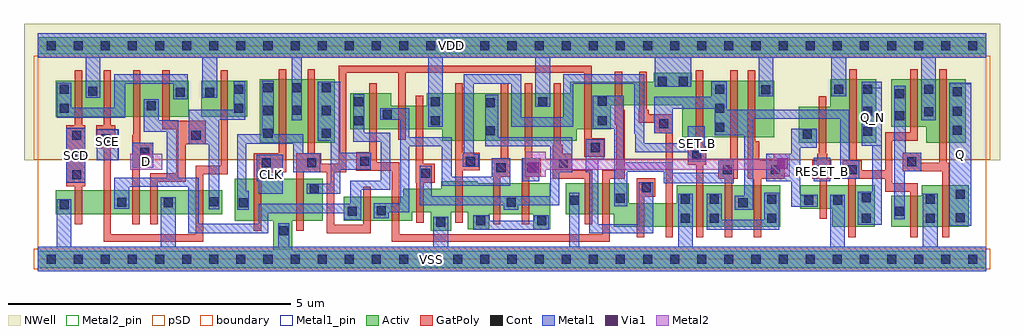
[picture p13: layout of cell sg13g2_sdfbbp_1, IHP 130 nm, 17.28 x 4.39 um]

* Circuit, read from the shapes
.subckt sg13g2_sdfbbp_1 CLK D Q Q_N RESET_B SCD SCE SET_B VDD VSS
XM1 n1 SCD VSS VSS sg13_lv_nmos w=0.42u l=0.13u
XM2 n2 SCE n1 VSS sg13_lv_nmos w=0.42u l=0.13u
XM3 n3 D n2 VSS sg13_lv_nmos w=0.42u l=0.13u
XM4 VSS n4 n3 VSS sg13_lv_nmos w=0.42u l=0.13u
XM5 n4 SCE VSS VSS sg13_lv_nmos w=0.42u l=0.13u
XM6 VSS CLK n5 VSS sg13_lv_nmos w=0.74u l=0.13u
XM7 n6 n5 VSS VSS sg13_lv_nmos w=0.74u l=0.13u
XM8 n7 n5 n2 VSS sg13_lv_nmos w=0.42u l=0.13u
XM9 n8 n6 n7 VSS sg13_lv_nmos w=0.42u l=0.13u
XM10 VSS n9 n8 VSS sg13_lv_nmos w=0.42u l=0.13u
XM11 n10 SET_B VSS VSS sg13_lv_nmos w=0.55u l=0.13u
XM12 n9 n7 n10 VSS sg13_lv_nmos w=0.55u l=0.13u
XM13 n10 n11 n9 VSS sg13_lv_nmos w=0.55u l=0.13u
XM14 n12 n9 VSS VSS sg13_lv_nmos w=0.55u l=0.13u
XM15 n13 n6 n12 VSS sg13_lv_nmos w=0.55u l=0.13u
XM16 n14 n5 n13 VSS sg13_lv_nmos w=0.42u l=0.13u
XM17 VSS n15 n14 VSS sg13_lv_nmos w=0.42u l=0.13u
XM18 n16 SET_B VSS VSS sg13_lv_nmos w=0.74u l=0.13u
XM19 n15 n13 n16 VSS sg13_lv_nmos w=0.74u l=0.13u
XM20 n16 n11 n15 VSS sg13_lv_nmos w=0.74u l=0.13u
XM21 VSS RESET_B n11 VSS sg13_lv_nmos w=0.42u l=0.13u
XM22 Q_N n15 VSS VSS sg13_lv_nmos w=0.74u l=0.13u
XM23 VSS n15 n17 VSS sg13_lv_nmos w=0.55u l=0.13u
XM24 Q n17 VSS VSS sg13_lv_nmos w=0.74u l=0.13u
XM25 VDD SCD n18 VDD sg13_lv_pmos w=0.64u l=0.13u
XM26 n19 SCE VDD VDD sg13_lv_pmos w=0.64u l=0.13u
XM27 n2 D n19 VDD sg13_lv_pmos w=0.64u l=0.13u
XM28 n18 n4 n2 VDD sg13_lv_pmos w=0.64u l=0.13u
XM29 n4 SCE VDD VDD sg13_lv_pmos w=0.64u l=0.13u
XM30 VDD CLK n5 VDD sg13_lv_pmos w=1.12u l=0.13u
XM31 n6 n5 VDD VDD sg13_lv_pmos w=1.12u l=0.13u
XM32 n7 n6 n2 VDD sg13_lv_pmos w=0.64u l=0.13u
XM33 n20 n5 n7 VDD sg13_lv_pmos w=0.42u l=0.13u
XM34 VDD n9 n20 VDD sg13_lv_pmos w=0.42u l=0.13u
XM35 n9 SET_B VDD VDD sg13_lv_pmos w=0.84u l=0.13u
XM36 n21 n7 n9 VDD sg13_lv_pmos w=0.84u l=0.13u
XM37 VDD n11 n21 VDD sg13_lv_pmos w=0.84u l=0.13u
XM38 n22 n9 VDD VDD sg13_lv_pmos w=0.84u l=0.13u
XM39 n13 n5 n22 VDD sg13_lv_pmos w=0.84u l=0.13u
XM40 n23 n6 n13 VDD sg13_lv_pmos w=0.42u l=0.13u
XM41 VDD n15 n23 VDD sg13_lv_pmos w=0.42u l=0.13u
XM42 n15 SET_B VDD VDD sg13_lv_pmos w=1u l=0.13u
XM43 n24 n13 n15 VDD sg13_lv_pmos w=1u l=0.13u
XM44 VDD n11 n24 VDD sg13_lv_pmos w=1u l=0.13u
XM45 VDD RESET_B n11 VDD sg13_lv_pmos w=0.64u l=0.13u
XM46 Q_N n15 VDD VDD sg13_lv_pmos w=1.12u l=0.13u
XM47 VDD n15 n17 VDD sg13_lv_pmos w=0.84u l=0.13u
XM48 Q n17 VDD VDD sg13_lv_pmos w=1.12u l=0.13u
.ends

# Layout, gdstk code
import gdstk
lib = gdstk.Library(unit=1e-6, precision=1e-09)
def R(c, l, rs):  # rectangles x0, y0, x1, y1
    for r in rs: c.add(gdstk.rectangle(r[:2], r[2:], *l))
def A(c, l, x, y, w, h, nx, ny, dx, dy):  # array of equal rectangles
    R(c, l, [(x+i*dx, y+j*dy, x+i*dx+w, y+j*dy+h) for i in range(nx) for j in range(ny)])
def P(c, l, *ps):  # polygons
    for p in ps: c.add(gdstk.Polygon(p, *l))
Activ = (1, 0)
GatPoly = (5, 0)
Cont = (6, 0)
Metal1 = (8, 0)
Metal1_pin = (8, 2)
Metal2 = (10, 0)
Metal2_pin = (10, 2)
pSD = (14, 0)
Via1 = (19, 0)
NWell = (31, 0)
boundary = (189, 4)

sg13g2_sdfbbp_1 = lib.new_cell('sg13g2_sdfbbp_1')
R(sg13g2_sdfbbp_1, Activ, [(0.32,0.795,3.27,1.215), (3.93,2.06,5.265,3.18), (0.32,2.52,2.68,3.16), (2.9,2.52,3.71,3.16), (0,3.63,16.8,3.93)])
P(sg13g2_sdfbbp_1, Activ, [(16.8,0.15),(4.51,0.15),(4.51,0.68),(5.05,0.68),(5.05,1.42),(3.49,1.42),(3.49,0.68),(4.17,0.68),(4.17,0.15),(0,0.15),(0,-0.15),(16.8,-0.15)],
  [(16.485,1.31),(15.655,1.31),(15.655,1.12),(15.115,1.12),(15.115,0.57),(16.485,0.57)],
  [(16.435,3.18),(15.115,3.18),(15.115,2.34),(15.735,2.34),(15.735,2.06),(16.435,2.06)],
  [(14.845,3.18),(14.035,3.18),(14.035,2.7),(13.475,2.7),(13.475,2.06),(14.845,2.06)],
  [(14.825,1.31),(13.505,1.31),(13.505,0.89),(14.07,0.89),(14.07,0.57),(14.825,0.57)],
  [(13.15,1.31),(11.32,1.31),(11.32,0.99),(10.47,0.99),(10.47,1.345),(9.35,1.345),(9.35,0.795),(10.2,0.795),(10.2,0.57),(13.15,0.57)],
  [(13.045,3.16),(11.585,3.16),(11.585,3.3),(10.91,3.3),(10.91,3.14),(9.43,3.14),(9.43,2.935),(6.895,2.935),(6.895,2.715),(6.26,2.715),(6.26,2.935),(5.535,2.935),(5.535,2.295),(7.165,2.295),(7.165,2.095),(9.55,2.095),(9.55,2.3),(10.15,2.3),(10.15,2.72),(11.41,2.72),(11.41,2.16),(13.045,2.16)],
  [(9.075,1.345),(7.795,1.345),(7.795,1.375),(7.145,1.375),(7.145,1.245),(6.475,1.245),(6.475,1.1),(5.425,1.1),(5.425,0.68),(6.635,0.68),(6.635,0.825),(6.965,0.825),(6.965,0.505),(7.32,0.505),(7.32,0.825),(7.62,0.825),(7.62,0.53),(7.995,0.53),(7.995,0.795),(8.775,0.795),(8.775,0.53),(9.075,0.53)])
P(sg13g2_sdfbbp_1, GatPoly, [(16.145,1.705),(16.095,1.705),(16.095,3.36),(15.965,3.36),(15.965,1.705),(15.645,1.705),(15.645,1.885),(15.315,1.885),(15.315,1.555),(16.015,1.555),(16.015,0.39),(16.145,0.39)],
  [(15.585,1.345),(15.135,1.345),(15.135,2.095),(15.585,2.095),(15.585,3.36),(15.455,3.36),(15.455,2.245),(15.005,2.245),(15.005,1.57),(14.59,1.57),(14.59,1.75),(14.505,1.75),(14.505,3.36),(14.375,3.36),(14.375,1.75),(14.26,1.75),(14.26,1.42),(14.355,1.42),(14.355,0.39),(14.485,0.39),(14.485,1.42),(15.005,1.42),(15.005,1.195),(15.455,1.195),(15.455,0.39),(15.585,0.39)],
  [(14.05,1.75),(13.98,1.75),(13.98,1.865),(13.965,1.865),(13.965,2.88),(13.835,2.88),(13.835,1.865),(13.8,1.865),(13.8,1.75),(13.72,1.75),(13.72,1.42),(13.845,1.42),(13.845,0.71),(13.975,0.71),(13.975,1.42),(14.05,1.42)],
  [(13.23,1.75),(12.78,1.75),(12.78,2.085),(12.705,2.085),(12.705,3.34),(12.575,3.34),(12.575,1.42),(12.68,1.42),(12.68,0.39),(12.81,0.39),(12.81,1.42),(13.23,1.42)],
  [(12.395,3.34),(12.265,3.34),(12.265,1.75),(12.05,1.75),(12.05,1.42),(12.17,1.42),(12.17,0.39),(12.3,0.39),(12.3,1.42),(12.395,1.42)],
  [(11.84,2),(11.785,2),(11.785,3.34),(11.655,3.34),(11.655,2),(11.51,2),(11.51,1.67),(11.66,1.67),(11.66,0.39),(11.79,0.39),(11.79,1.67),(11.84,1.67)],
  [(11.25,2.56),(10.82,2.56),(10.82,2.645),(10.785,2.645),(10.785,3.32),(10.655,3.32),(10.655,2.645),(10.64,2.645),(10.64,2.41),(10.92,2.41),(10.92,2.23),(11.12,2.23),(11.12,0.39),(11.25,0.39)],
  [(10.94,1.43),(10.61,1.43),(10.61,0.39),(10.74,0.39),(10.74,1.1),(10.94,1.1)],
  [(10.4,2.645),(10.35,2.645),(10.35,3.32),(10.22,3.32),(10.22,2.38),(10.25,2.38),(10.25,1.57),(10,1.57),(10,0.435),(6.405,0.435),(6.405,1.715),(6.005,1.715),(6.005,3.115),(5.875,3.115),(5.875,1.895),(5.645,1.895),(5.645,1.565),(6.275,1.565),(6.275,0.305),(10.13,0.305),(10.13,1.42),(10.4,1.42)],
  [(10.04,2.14),(9.81,2.14),(9.81,3.425),(5.335,3.425),(5.335,1.69),(5.02,1.69),(5.02,1.87),(4.91,1.87),(4.91,3.36),(4.78,3.36),(4.78,1.87),(4.58,1.87),(4.58,0.5),(4.71,0.5),(4.71,1.54),(5.12,1.54),(5.12,0.455),(5.895,0.455),(5.895,1.28),(5.765,1.28),(5.765,0.605),(5.25,0.605),(5.25,1.54),(5.465,1.54),(5.465,3.295),(6.385,3.295),(6.385,2.115),(6.515,2.115),(6.515,3.295),(9.68,3.295),(9.68,1.81),(10.04,1.81)],
  [(9.82,1.57),(9.47,1.57),(9.47,1.865),(9.3,1.865),(9.3,2.02),(9.265,2.02),(9.265,3.115),(9.135,3.115),(9.135,2.02),(9.12,2.02),(9.12,1.42),(9.69,1.42),(9.69,0.615),(9.82,0.615)],
  [(8.91,1.785),(8.755,1.785),(8.755,3.115),(8.625,3.115),(8.625,1.785),(8.575,1.785),(8.575,0.615),(8.705,0.615),(8.705,1.455),(8.91,1.455)],
  [(8.37,1.785),(8.335,1.785),(8.335,3.115),(8.205,3.115),(8.205,1.785),(8.04,1.785),(8.04,1.455),(8.065,1.455),(8.065,0.615),(8.195,0.615),(8.195,1.455),(8.37,1.455)],
  [(7.83,1.885),(7.525,1.885),(7.525,3.115),(7.395,3.115),(7.395,0.645),(7.525,0.645),(7.525,1.57),(7.83,1.57)],
  [(7.035,1.685),(6.825,1.685),(6.825,2.895),(6.695,2.895),(6.695,1.355),(6.705,1.355),(6.705,0.645),(6.835,0.645),(6.835,1.355),(7.035,1.355)],
  [(4.4,3.36),(4.27,3.36),(4.27,1.87),(3.83,1.87),(3.83,0.5),(3.96,0.5),(3.96,1.54),(4.4,1.54)],
  [(3.37,3.34),(3.24,3.34),(3.24,1.655),(2.8,1.655),(2.8,0.435),(1.3,0.435),(1.3,1.965),(1.375,1.965),(1.375,2.365),(1.3,2.365),(1.3,3.34),(1.17,3.34),(1.17,2.365),(1.035,2.365),(1.035,1.965),(1.17,1.965),(1.17,0.305),(2.93,0.305),(2.93,1.505),(3.37,1.505)],
  [(2.975,2.445),(2.34,2.445),(2.34,3.34),(2.21,3.34),(2.21,2.295),(2.455,2.295),(2.455,1.515),(1.995,1.515),(1.995,0.615),(2.125,0.615),(2.125,1.365),(2.62,1.365),(2.62,2.03),(2.975,2.03)],
  [(2.05,2.055),(1.82,2.055),(1.82,3.34),(1.69,3.34),(1.69,2.2),(1.68,2.2),(1.68,0.615),(1.81,0.615),(1.81,1.725),(2.05,1.725)],
  [(0.84,2.365),(0.79,2.365),(0.79,3.34),(0.66,3.34),(0.66,2.365),(0.51,2.365),(0.51,1.285),(0.66,1.285),(0.66,0.615),(0.79,0.615),(0.79,1.285),(0.84,1.285)])
A(sg13g2_sdfbbp_1, Cont, 0.16, -0.08, 0.16, 0.16, 35, 2, 0.48, 3.78)
A(sg13g2_sdfbbp_1, Cont, 0.61, 1.41, 0.16, 0.16, 1, 3, 0, 0.35)
A(sg13g2_sdfbbp_1, Cont, 16.205, 2.2, 0.16, 0.16, 1, 3, 0, 0.34)
A(sg13g2_sdfbbp_1, Cont, 11.995, 2.25, 0.16, 0.16, 1, 3, 0, 0.34)
R(sg13g2_sdfbbp_1, Cont, [(4.28,0.425,4.44,0.585), (7.06,0.575,7.22,0.735), (7.765,0.6,7.925,0.76), (8.845,0.6,9.005,0.76), (11.39,0.64,11.55,0.8), (11.9,0.64,12.06,0.8), (12.92,0.64,13.08,0.8), (14.595,0.64,14.755,0.8), (15.725,0.64,15.885,0.8), (16.255,0.655,16.415,0.815), (5.495,0.765,5.655,0.925), (15.185,0.765,15.345,0.925), (6.005,0.775,6.165,0.935), (0.39,0.885,0.55,1.045), (2.235,0.915,2.395,1.075), (3.56,0.92,3.72,1.08), (12.41,0.92,12.57,1.08), (1.41,0.925,1.57,1.085), (8.305,0.925,8.465,1.085), (3.04,0.935,3.2,1.095), (13.575,0.96,13.735,1.12), (14.085,0.96,14.245,1.12), (9.42,0.965,9.58,1.125), (11.39,0.98,11.55,1.14), (11.9,0.98,12.06,1.14), (12.92,0.98,13.08,1.14), (15.725,0.98,15.885,1.14), (10.24,1,10.4,1.16), (14.595,1.005,14.755,1.165), (16.255,1.07,16.415,1.23), (4.82,1.165,4.98,1.325), (10.695,1.185,10.855,1.345), (6.79,1.44,6.95,1.6), (12.135,1.505,12.295,1.665), (12.985,1.505,13.145,1.665), (13.805,1.505,13.965,1.665), (14.345,1.505,14.505,1.665), (8.125,1.54,8.285,1.7), (8.665,1.54,8.825,1.7), (9.225,1.62,9.385,1.78), (3.97,1.625,4.13,1.785), (4.775,1.625,4.935,1.785), (15.4,1.64,15.56,1.8), (5.715,1.65,5.875,1.81), (7.585,1.655,7.745,1.815), (11.595,1.755,11.755,1.915), (1.815,1.81,1.975,1.97), (9.795,1.895,9.955,2.055), (1.125,2.05,1.285,2.21), (2.725,2.115,2.885,2.275), (13.545,2.13,13.705,2.29), (4,2.145,4.16,2.305), (5.035,2.145,5.195,2.305), (14.615,2.185,14.775,2.345), (7.935,2.195,8.095,2.355), (11.005,2.315,11.165,2.475), (5.605,2.365,5.765,2.525), (6.965,2.365,7.125,2.525), (9.92,2.37,10.08,2.53), (15.185,2.46,15.345,2.62), (6.115,2.485,6.275,2.645), (15.695,2.53,15.855,2.69), (14.615,2.54,14.775,2.7), (4,2.55,4.16,2.71), (5.035,2.55,5.195,2.71), (4.51,2.555,4.67,2.715), (0.39,2.59,0.55,2.75), (3.48,2.59,3.64,2.75), (1.93,2.635,2.09,2.795), (7.935,2.69,8.095,2.85), (5.605,2.705,5.765,2.865), (6.965,2.705,7.125,2.865), (8.865,2.705,9.025,2.865), (9.92,2.715,10.08,2.875), (15.185,2.845,15.345,3.005), (2.45,2.87,2.61,3.03), (2.97,2.87,3.13,3.03), (0.9,2.89,1.06,3.05), (12.815,2.92,12.975,3.08), (14.105,2.925,14.265,3.085), (14.615,2.925,14.775,3.085), (15.695,2.925,15.855,3.085), (0.39,2.93,0.55,3.09), (3.48,2.93,3.64,3.09), (4,2.95,4.16,3.11), (4.51,2.95,4.67,3.11), (5.035,2.95,5.195,3.11), (10.98,3.07,11.14,3.23), (11.355,3.07,11.515,3.23)])
R(sg13g2_sdfbbp_1, Metal1, [(16.145,0.59,16.535,3.12), (0.51,1.355,0.84,2.325), (8.58,1.38,8.885,1.785), (13.74,1.38,14.035,1.79), (1.68,1.62,2.05,2.055), (1.05,1.75,1.435,2.295)])
P(sg13g2_sdfbbp_1, Metal1, [(4.34,1.85),(3.885,1.85),(3.885,1.38),(3.92,1.38),(3.92,1.155),(4.34,1.155)],
  [(16.8,0.22),(15.935,0.22),(15.935,1.155),(15.675,1.155),(15.675,0.22),(14.295,0.22),(14.295,1.14),(14.035,1.14),(14.035,0.22),(11.6,0.22),(11.6,1.16),(11.34,1.16),(11.34,0.22),(9.59,0.22),(9.59,1.175),(9.415,1.175),(9.415,0.22),(7.27,0.22),(7.27,0.745),(7.01,0.745),(7.01,0.22),(4.46,0.22),(4.46,0.635),(4.26,0.635),(4.26,0.22),(2.445,0.22),(2.445,1.095),(2.185,1.095),(2.185,0.22),(0.6,0.22),(0.6,1.055),(0.34,1.055),(0.34,0.22),(0,0.22),(0,-0.22),(16.8,-0.22)],
  [(16.8,4),(0,4),(0,3.56),(0.85,3.56),(0.85,2.86),(1.11,2.86),(1.11,3.56),(2.92,3.56),(2.92,2.855),(3.18,2.855),(3.18,3.56),(4.5,3.56),(4.5,2.455),(4.68,2.455),(4.68,3.56),(6.915,3.56),(6.915,2.34),(7.175,2.34),(7.175,3.56),(8.815,3.56),(8.815,2.695),(9.075,2.695),(9.075,3.56),(10.925,3.56),(10.925,3.055),(11.57,3.055),(11.57,3.56),(12.765,3.56),(12.765,2.88),(13.025,2.88),(13.025,3.56),(14.055,3.56),(14.055,2.885),(14.315,2.885),(14.315,3.56),(15.645,3.56),(15.645,2.455),(15.905,2.455),(15.905,3.56),(16.8,3.56)],
  [(15.645,1.885),(15.375,1.885),(15.375,3.07),(15.17,3.07),(15.17,0.705),(15.355,0.705),(15.355,1.555),(15.645,1.555)],
  [(14.95,3.135),(14.59,3.135),(14.59,2.005),(14.78,2.005),(14.78,1.19),(14.52,1.19),(14.52,0.61),(14.95,0.61)],
  [(14.55,1.75),(14.375,1.75),(14.375,2.645),(12.205,2.645),(12.205,3.145),(11.93,3.145),(11.93,2.87),(10.92,2.87),(10.92,2.23),(11.25,2.23),(11.25,2.66),(11.99,2.66),(11.99,2.195),(12.51,2.195),(12.51,1.125),(12.34,1.125),(12.34,0.875),(12.67,0.875),(12.67,2.485),(14.215,2.485),(14.215,1.42),(14.55,1.42)],
  [(13.815,1.14),(13.5,1.14),(13.5,1.975),(13.795,1.975),(13.795,2.305),(13.34,2.305),(13.34,1.865),(12.9,1.865),(12.9,1.38),(13.34,1.38),(13.34,0.93),(13.815,0.93)],
  [(13.13,1.17),(12.87,1.17),(12.87,0.695),(12.11,0.695),(12.11,1.155),(11.85,1.155),(11.85,0.515),(13.13,0.515)],
  [(12.33,1.75),(12.05,1.75),(12.05,1.525),(11.25,1.525),(11.25,1.71),(10.38,1.71),(10.38,2.895),(9.83,2.895),(9.83,2.31),(10.21,2.31),(10.21,0.935),(10.44,0.935),(10.44,1.55),(11.085,1.55),(11.085,1.345),(12.33,1.345)],
  [(11.84,2),(11.81,2),(11.81,2.35),(11.51,2.35),(11.51,2.05),(10.74,2.05),(10.74,3.275),(9.31,3.275),(9.31,2.51),(8.56,2.51),(8.56,3.275),(7.55,3.275),(7.55,1.855),(7.525,1.855),(7.525,1.635),(7.815,1.635),(7.815,1.855),(7.72,1.855),(7.72,3.105),(8.39,3.105),(8.39,2.345),(9.48,2.345),(9.48,3.105),(10.565,3.105),(10.565,2.215),(10.58,2.215),(10.58,1.89),(11.51,1.89),(11.51,1.72),(11.84,1.72)],
  [(10.905,1.36),(10.645,1.36),(10.645,0.615),(9.93,0.615),(9.93,1.755),(10.03,1.755),(10.03,2.125),(9.71,2.125),(9.71,1.535),(9.77,1.535),(9.77,0.455),(10.905,0.455)],
  [(9.47,2.16),(8.16,2.16),(8.16,2.905),(7.925,2.905),(7.925,2),(9.075,2),(9.075,1.115),(6.975,1.115),(6.975,1.65),(6.77,1.65),(6.77,0.955),(8.255,0.955),(8.255,0.87),(8.515,0.87),(8.515,0.955),(9.235,0.955),(9.235,1.535),(9.47,1.535)],
  [(9.055,0.775),(8.795,0.775),(8.795,0.68),(8.005,0.68),(8.005,0.775),(7.71,0.775),(7.71,0.52),(9.055,0.52)],
  [(8.37,1.785),(8.04,1.785),(8.04,1.455),(7.33,1.455),(7.33,2.16),(6.58,2.16),(6.58,2.67),(6.065,2.67),(6.065,2.465),(6.42,2.465),(6.42,0.985),(5.955,0.985),(5.955,0.725),(6.22,0.725),(6.22,0.825),(6.58,0.825),(6.58,1.995),(7.16,1.995),(7.16,1.295),(8.37,1.295)],
  [(6.24,2.235),(5.785,2.235),(5.785,2.92),(5.585,2.92),(5.585,2.075),(6.08,2.075),(6.08,1.385),(5.54,1.385),(5.54,0.975),(3.92,0.975),(3.92,0.625),(2.85,0.625),(2.85,1.44),(2.495,1.44),(2.495,2.455),(2.15,2.455),(2.15,2.825),(1.88,2.825),(1.88,2.255),(2.29,2.255),(2.29,1.44),(1.36,1.44),(1.36,0.895),(1.62,0.895),(1.62,1.28),(2.67,1.28),(2.67,0.455),(4.08,0.455),(4.08,0.815),(5.425,0.815),(5.425,0.7),(5.73,0.7),(5.73,1.225),(6.24,1.225)],
  [(5.9,1.88),(5.36,1.88),(5.36,3.14),(4.96,3.14),(4.96,2.095),(5.19,2.095),(5.19,1.335),(4.77,1.335),(4.77,1.155),(5.36,1.155),(5.36,1.58),(5.9,1.58)],
  [(5.005,1.87),(4.7,1.87),(4.7,2.21),(4.185,2.21),(4.185,3.16),(3.97,3.16),(3.97,2.21),(3.535,2.21),(3.535,0.87),(3.74,0.87),(3.74,1.21),(3.695,1.21),(3.695,2.04),(4.53,2.04),(4.53,1.54),(5.005,1.54)],
  [(3.675,3.145),(3.47,3.145),(3.47,2.64),(2.675,2.64),(2.675,2.03),(3.03,2.03),(3.03,0.885),(3.215,0.885),(3.215,2.47),(3.675,2.47)],
  [(2.66,3.275),(1.355,3.275),(1.355,2.675),(0.6,2.675),(0.6,3.12),(0.34,3.12),(0.34,2.505),(1.555,2.505),(1.555,3.105),(2.4,3.105),(2.4,2.83),(2.66,2.83)])
R(sg13g2_sdfbbp_1, Metal1_pin, [(0,-0.22,16.8,0.22), (16.145,0.59,16.535,3.1), (3.92,1.16,4.34,1.85), (0.51,1.36,0.84,2.32), (13.74,1.38,14.035,1.79), (1.05,1.75,1.43,2.29), (11.51,1.89,11.81,2.35), (14.59,2.005,14.95,3.035), (0,3.56,16.8,4)])
R(sg13g2_sdfbbp_1, Metal2, [(1.645,1.58,2.205,1.86)])
P(sg13g2_sdfbbp_1, Metal2, [(13.32,1.865),(13.03,1.865),(13.03,1.78),(9,1.78),(9,1.9),(8.635,1.9),(8.635,1.455),(9,1.455),(9,1.58),(13.03,1.58),(13.03,1.47),(13.32,1.47)])
R(sg13g2_sdfbbp_1, Metal2_pin, [(1.645,1.58,2.205,1.86)])
R(sg13g2_sdfbbp_1, pSD, [(-0.07,-0.18,16.87,0.18), (-0.07,1.76,16.87,3.6)])
R(sg13g2_sdfbbp_1, Via1, [(8.685,1.52,8.875,1.71), (13.09,1.595,13.28,1.785), (1.79,1.645,1.98,1.835)])
R(sg13g2_sdfbbp_1, NWell, [(-0.24,1.75,17.04,4.17)])
R(sg13g2_sdfbbp_1, boundary, [(0,0,16.8,3.78)])
sg13g2_sdfbbp_1.add(gdstk.Label('D', (1.92,1.725), layer=10, texttype=25))
sg13g2_sdfbbp_1.add(gdstk.Label('Q', (16.34,1.845), layer=8, texttype=25))
sg13g2_sdfbbp_1.add(gdstk.Label('SCD', (0.69,1.83), layer=8, texttype=25))
sg13g2_sdfbbp_1.add(gdstk.Label('SCE', (1.24,2.08), layer=8, texttype=25))
sg13g2_sdfbbp_1.add(gdstk.Label('CLK', (4.15,1.5), layer=8, texttype=25))
sg13g2_sdfbbp_1.add(gdstk.Label('VDD', (7.32,3.78), layer=8, texttype=25))
sg13g2_sdfbbp_1.add(gdstk.Label('VSS', (6.98,0), layer=8, texttype=25))
sg13g2_sdfbbp_1.add(gdstk.Label('SET_B', (11.68,2.04), layer=8, texttype=25))
sg13g2_sdfbbp_1.add(gdstk.Label('RESET_B', (13.9,1.555), layer=8, texttype=25))
sg13g2_sdfbbp_1.add(gdstk.Label('Q_N', (14.775,2.5), layer=8, texttype=25))

lib.write_gds('sg13g2_sdfbbp_1.gds')
